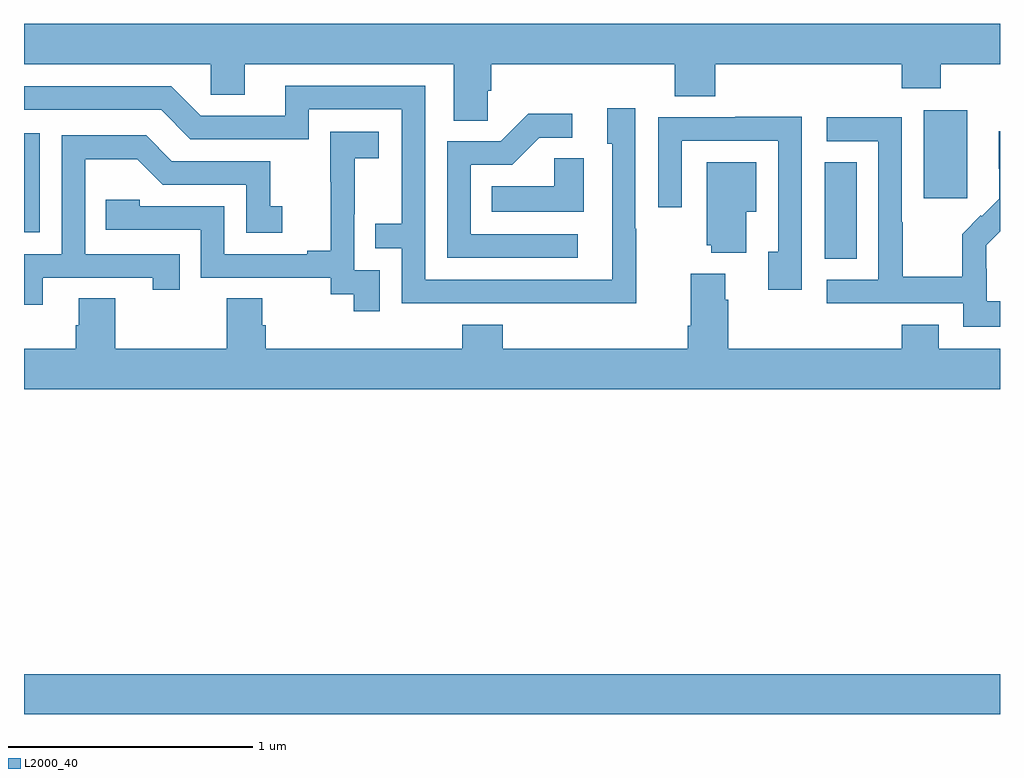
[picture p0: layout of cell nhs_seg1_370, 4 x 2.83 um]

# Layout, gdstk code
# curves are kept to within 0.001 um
import gdstk
lib = gdstk.Library(unit=1e-6, precision=1e-09)
def R(c, l, rs):  # rectangles x0, y0, x1, y1
    for r in rs: c.add(gdstk.rectangle(r[:2], r[2:], *l))
def P(c, l, *ps):  # polygons
    for p in ps: c.add(gdstk.Polygon(p, *l))
L2000_40 = (2000, 40)

nhs_seg1_370 = lib.new_cell('nhs_seg1_370')
R(nhs_seg1_370, L2000_40, [(131,542.408,135,542.572), (134.282,544.273,134.413,544.67), (131,544.383,131.064,544.789), (134.687,544.521,134.866,544.882)])
P(nhs_seg1_370, L2000_40, [(132.9,544.963),(132.914,544.963),(132.914,545.072),(133.667,545.072),(133.667,544.939),(133.832,544.939),(133.832,545.072),(134.597,545.072),(134.597,544.973),(134.757,544.973),(134.757,545.072),(135,545.072),(135,545.236),(131,545.236),(131,545.072),(131.766,545.072),(131.766,544.945),(131.905,544.945),(131.905,545.072),(132.761,545.072),(132.761,544.84),(132.9,544.84)],
  [(133.509,544.397),(133.506,544.397),(133.506,544.891),(133.391,544.891),(133.391,544.746),(133.41,544.746),(133.41,544.188),(132.645,544.188),(132.645,544.983),(132.071,544.983),(132.071,544.86),(131.724,544.86),(131.604,544.98),(131,544.98),(131,544.884),(131.562,544.884),(131.682,544.764),(132.168,544.764),(132.168,544.887),(132.549,544.887),(132.549,544.418),(132.439,544.418),(132.439,544.317),(132.549,544.317),(132.549,544.092),(133.509,544.091)],
  [(133.27,544.374),(132.831,544.374),(132.831,544.659),(133,544.659),(133.111,544.77),(133.246,544.77),(133.246,544.868),(133.067,544.868),(132.954,544.755),(132.735,544.755),(132.735,544.278),(133.27,544.278)],
  [(134.187,544.856),(133.915,544.856),(133.915,544.854),(133.599,544.854),(133.599,544.485),(133.695,544.485),(133.695,544.758),(134.091,544.758),(134.091,544.302),(134.051,544.302),(134.051,544.146),(134.187,544.146)],
  [(135,544.099),(134.946,544.099),(134.946,544.233),(134.944,544.233),(134.944,544.33),(135,544.386),(135,544.796),(134.994,544.796),(134.994,544.642),(134.996,544.642),(134.996,544.52),(134.925,544.449),(134.922,544.452),(134.845,544.375),(134.845,544.201),(134.601,544.201),(134.601,544.424),(134.598,544.424),(134.598,544.854),(134.289,544.854),(134.289,544.755),(134.502,544.755),(134.502,544.188),(134.289,544.188),(134.289,544.092),(134.85,544.092),(134.85,543.995),(135,543.995)],
  [(132.459,544.227),(132.354,544.227),(132.354,544.457),(132.356,544.457),(132.356,544.685),(132.454,544.685),(132.454,544.795),(132.256,544.795),(132.256,544.589),(132.257,544.589),(132.257,544.306),(132.161,544.306),(132.161,544.293),(131.82,544.293),(131.82,544.488),(131.475,544.488),(131.475,544.515),(131.335,544.515),(131.335,544.392),(131.724,544.392),(131.724,544.197),(132.258,544.197),(132.258,544.129),(132.351,544.129),(132.351,544.059),(132.459,544.059)],
  [(131.077,544.197),(131.528,544.197),(131.528,544.146),(131.639,544.146),(131.639,544.293),(131.25,544.293),(131.25,544.682),(131.464,544.682),(131.568,544.578),(131.91,544.578),(131.91,544.38),(132.058,544.38),(132.058,544.489),(132.009,544.489),(132.009,544.674),(131.605,544.674),(131.5,544.779),(131.154,544.779),(131.154,544.293),(131,544.293),(131,544.086),(131.077,544.086)],
  [(133.294,544.685),(133.173,544.685),(133.173,544.57),(132.916,544.57),(132.916,544.466),(133.294,544.466)],
  [(133.96,544.466),(134.002,544.466),(134.002,544.669),(133.799,544.669),(133.799,544.329),(133.817,544.329),(133.817,544.298),(133.96,544.298)],
  [(135,543.904),(134.749,543.904),(134.749,544.003),(134.597,544.003),(134.597,543.904),(133.886,543.904),(133.886,544.106),(133.873,544.106),(133.873,544.213),(133.733,544.213),(133.733,544),(133.721,544),(133.721,543.904),(132.962,543.904),(132.962,544.003),(132.797,544.003),(132.797,543.904),(131.99,543.904),(131.99,544.002),(131.977,544.002),(131.977,544.112),(131.83,544.112),(131.83,543.904),(131.373,543.904),(131.373,544.112),(131.225,544.112),(131.225,544.002),(131.213,544.002),(131.213,543.904),(131,543.904),(131,543.74),(135,543.74)])

lib.write_gds('nhs_seg1_370.gds')
